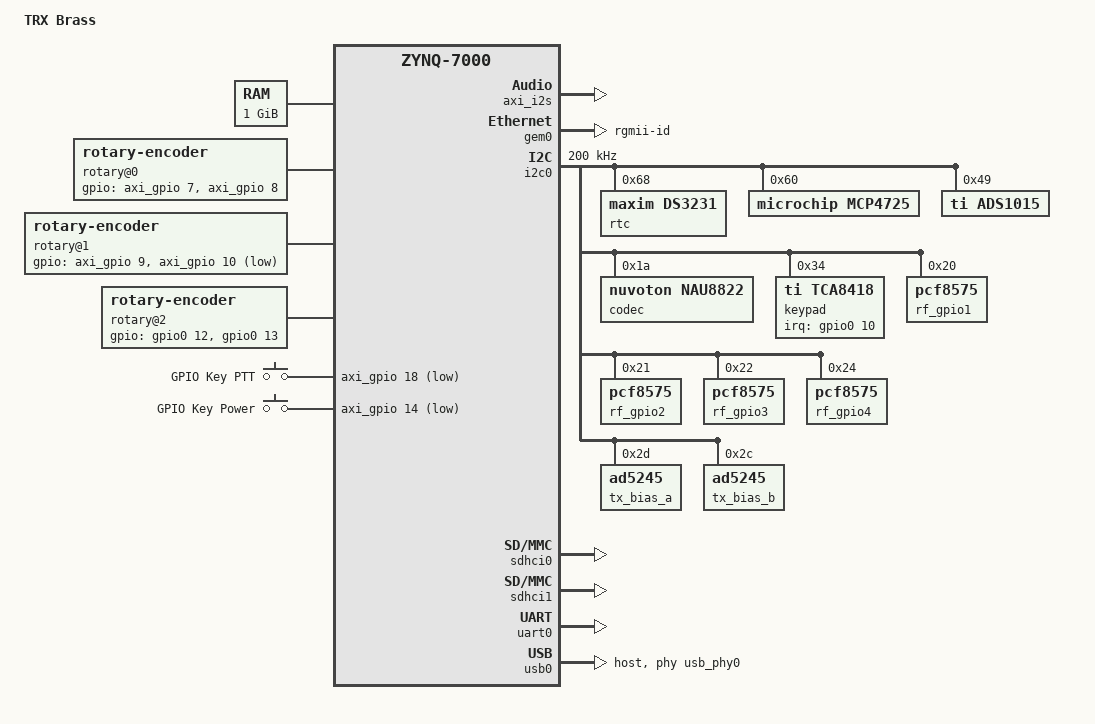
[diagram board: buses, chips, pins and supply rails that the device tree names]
/dts-v1/;

#include <dt-bindings/input/input.h>
#include <dt-bindings/interrupt-controller/irq.h>
#include <dt-bindings/dma/axi-dmac.h>

#include "zynq-7000.dtsi"

/ {
	model = "TRX Brass";
	compatible = "xlnx,zynq-7000";

	chosen {
		bootargs = "earlycon";
		stdout-path = "serial0:115200n8";
	};

	aliases {
		ethernet0 = &gem0;
		serial0 = &uart0;
		i2c0 = &i2c0;
		spi0 = &qspi;
		mmc0 = &sdhci0;
		mmc1 = &sdhci1;
	};

	memory {
		device_type = "memory";
		reg = <0x0 0x40000000>;
	};

	amba_pl: amba_pl {
		#address-cells = <1>;
		#size-cells = <1>;
		compatible = "simple-bus";
		ranges ;

		framebuffer {
			compatible = "r1cbu,vdmafb";
			reg = <0x43000000 0x10000>;
			width = <800>;
			height = <480>;
		};

		axi_clk: axi_clk {
			#clock-cells = <0>;
			compatible = "fixed-clock";
			clock-frequency = <122880000>;
			clock-output-names = "axi_clk";
		};

		i2s_clk: i2s_clk {
			#clock-cells = <0>;
			compatible = "fixed-clock";
			clock-frequency = <12288000>;
			clock-output-names = "i2s_clk";
		};
    
		axi_gpio: gpio@41200000 {
			#gpio-cells = <2>;
			#interrupt-cells = <2>;
			clock-names = "axi_clk";
			clocks = <&axi_clk>;
			compatible = "xlnx,axi-gpio-2.0", "xlnx,xps-gpio-1.00.a";
			gpio-controller ;
			interrupt-controller ;
			interrupt-names = "ip2intc_irpt";
			interrupt-parent = <&intc>;
			interrupts = <0 29 4>;
			reg = <0x41200000 0x10000>;
			xlnx,all-inputs = <0x0>;
			xlnx,all-inputs-2 = <0x0>;
			xlnx,all-outputs = <0x0>;
			xlnx,all-outputs-2 = <0x0>;
			xlnx,dout-default = <0x00000000>;
			xlnx,dout-default-2 = <0x00000000>;
			xlnx,gpio-width = <22>;
			xlnx,gpio2-width = <32>;
			xlnx,interrupt-present = <0x1>;
			xlnx,is-dual = <0x0>;
			xlnx,tri-default = <0xFFFFFFFF>;
			xlnx,tri-default-2 = <0xFFFFFFFF>;
		};

		axi_i2s: i2s@43c00000 {
			reg = <0x43C00000 0x10000>;
			#sound-dai-cells = <0>;
			compatible = "adi,axi-i2s-1.00.a";
			clocks = <&i2s_clk>, <&axi_clk>;
			clock-names = "ref", "axi";
			dmas = <&dmac_s 0>, <&dmac_s 1>;
			dma-names = "rx", "tx";
		};

		dma_fft: dma@40400000 {
			#dma-cells = <1>;
			clock-names = "s_axi_lite_aclk", "m_axi_sg_aclk", "m_axi_s2mm_aclk";
			clocks = <&axi_clk>, <&axi_clk>, <&axi_clk>;
			compatible = "xlnx,axi-dma-7.1", "xlnx,axi-dma-1.00.a";
			interrupt-names = "s2mm_introut";
			interrupt-parent = <&intc>;
			interrupts = <0 31 4>;
			reg = <0x40400000 0x10000>;
			xlnx,addrwidth = <64>;
			xlnx,include-sg ;
			xlnx,sg-length-width = <16>;

			dma-channel@40400030 {
				compatible = "xlnx,axi-dma-s2mm-channel";
				dma-channels = <0x1>;
				interrupts = <0 31 4>;
				xlnx,datawidth = <64>;
				xlnx,device-id = <1>;
			};
		};

		dma_trx: dma@40410000 {
			#dma-cells = <1>;
			clock-names = "s_axi_lite_aclk", "m_axi_sg_aclk", "m_axi_s2mm_aclk";
			clocks = <&axi_clk>, <&axi_clk>, <&axi_clk>;
			compatible = "xlnx,axi-dma-7.1", "xlnx,axi-dma-1.00.a";
			interrupt-names = "mm2s_introut", "s2mm_introut";
			interrupt-parent = <&intc>;
			interrupts = <0 33 4 0 32 4>;
			reg = <0x40410000 0x10000>;
			xlnx,addrwidth = <64>;
			xlnx,include-sg ;
			xlnx,sg-length-width = <14>;

			dma-channel@40410000 {
				compatible = "xlnx,axi-dma-mm2s-channel";
				dma-channels = <0x1>;
				interrupts = <0 33 4>;
				xlnx,datawidth = <64>;
				xlnx,device-id = <1>;
			};

			dma-channel@40410030 {
				compatible = "xlnx,axi-dma-s2mm-channel";
				dma-channels = <0x1>;
				interrupts = <0 32 4>;
				xlnx,datawidth = <64>;
				xlnx,device-id = <1>;
			};
		};
	};

	dma_proxy {
		compatible ="xlnx,dma_proxy";
		dmas = <&dma_fft 1 &dma_trx 1 &dma_trx 0>;
		dma-names = "fft", "adc", "dac";
	};

	rx_control {
		compatible = "generic-uio";
		reg = <0x43C10000 0x1000>;
	};

	tx_control {
		compatible = "generic-uio";
		reg = <0x43C20000 0x1000>;
	};

	sound {
		compatible = "simple-audio-card";
		simple-audio-card,name = "Brass-Sound-Card";
		simple-audio-card,format = "i2s";

		simple-audio-card,routing =
			"Headphones", "LHP",
			"Headphones", "RHP",
			"Speaker", "LSPK",
			"Speaker", "RSPK",
			"Line Out", "AUXOUT1",
			"Line Out", "AUXOUT2",
			"LAUX", "Line In",
			"RAUX", "Line In",
			"LMICP", "Mic In",
			"RMICP", "Mic In";

		simple-audio-card,widgets =
			"Headphones", "Headphones",
			"Line Out", "Line Out",
			"Speaker", "Speaker",
			"Microphone", "Mic In",
			"Line", "Line In";

		simple-audio-card,cpu {
			sound-dai = <&axi_i2s>;
		};

		simple-audio-card,codec {
			sound-dai = <&codec>;
		};
	};

	usb_phy0: phy0@e0002000 {
		compatible = "ulpi-phy";
		#phy-cells = <0>;
		reg = <0xe0002000 0x1000>;
		view-port = <0x0170>;
		drv-vbus;
	};

	cpus {
		cpu@0 {
			operating-points = <766666 1000000 383333 1000000>;
		};
	};

	rotary@0 {
		compatible = "rotary-encoder";
		gpios = <&axi_gpio 7 0>, <&axi_gpio 8 0>;
		linux,axis = <0>;
		rotary-encoder,encoding = "gray";
		rotary-encoder,relative-axis;
	};

	rotary@1 {
		compatible = "rotary-encoder";
		gpios = <&axi_gpio 9 0>, <&axi_gpio 10 1>;
		linux,axis = <0>;
		rotary-encoder,encoding = "gray";
		rotary-encoder,relative-axis;
	};

	rotary@2 {
		compatible = "rotary-encoder";
		gpios = <&gpio0 12 0>, <&gpio0 13 0>;
		linux,axis = <0>;
		rotary-encoder,encoding = "gray";
		rotary-encoder,relative-axis;
	};

	gpio-keys {
		compatible = "gpio-keys";

		key-ptt {
			label = "GPIO Key PTT";
			linux,code = <KEY_CONNECT>;
			gpios = <&axi_gpio 18 1>;
		};

		key-power {
			label = "GPIO Key Power";
			linux,code = <KEY_POWER>;
			gpios = <&axi_gpio 14 1>;
		};
	};

	control_regs: axi@43c30000 {
		compatible = "syscon";
		reg = <0x43c30000 0x1000>;
	};

	poweroff {
		compatible = "syscon-poweroff";
		regmap = <&control_regs>;
		offset = <0x00>;
		mask = <0x1>;
	};

};

&gem0 {
	enet-reset = <&gpio0 7 0>;
	phy-mode = "rgmii-id";
	status = "okay";
	xlnx,ptp-enet-clock = <0x79dbbf3>;
	local-mac-address = [46 28 FA DA 2F 4B];
};

&gpio0 {
	emio-gpio-width = <64>;
	gpio-mask-high = <0x0>;
	gpio-mask-low = <0x5600>;
};

&i2c0 {
	clock-frequency = <200000>;
	status = "okay";

	rtc@68 {
	    compatible = "maxim,ds3231";
	    reg = <0x68>;
	};

	mcp4725@60 {
		compatible = "microchip,mcp4725";
		reg = <0x60>;
	};

	ads1015@49 {
		compatible = "ti,ads1015";
		reg = <0x49>;
		#address-cells = <1>;
		#size-cells = <0>;

		channel@0 {
			reg = <4>;
			ti,datarate = <0>;
		};

		channel@1 {
			reg = <5>;
			ti,datarate = <0>;
		};

		channel@2 {
			reg = <6>;
			ti,datarate = <0>;
		};

		channel@3 {
			reg = <7>;
			ti,datarate = <0>;
		};
	};

	codec: nau8822@1a {
		compatible = "nuvoton,nau8822";
		#sound-dai-cells = <0>;
		reg = <0x1a>;
	};

	keypad@34 {
		compatible = "ti,tca8418";
		reg = <0x34>;
		interrupt-parent = <&gpio0>;
		interrupts = <10 IRQ_TYPE_EDGE_FALLING>;
		linux,keymap = < 
			MATRIX_KEY(0x03, 0x02, BTN_NORTH)

			MATRIX_KEY(0x03, 0x03, KEY_1)
			MATRIX_KEY(0x03, 0x01, KEY_2)
			MATRIX_KEY(0x03, 0x00, KEY_3)

			MATRIX_KEY(0x00, 0x03, BTN_SOUTH)

			MATRIX_KEY(0x00, 0x01, KEY_F1)
			MATRIX_KEY(0x00, 0x02, KEY_F2)
			MATRIX_KEY(0x02, 0x00, KEY_F3)
			MATRIX_KEY(0x02, 0x01, KEY_F4)
			MATRIX_KEY(0x02, 0x02, KEY_F5)
			MATRIX_KEY(0x02, 0x03, KEY_F6)

			MATRIX_KEY(0x01, 0x00, KEY_A)
			MATRIX_KEY(0x01, 0x01, KEY_B)
			MATRIX_KEY(0x01, 0x02, KEY_C)
			MATRIX_KEY(0x01, 0x03, KEY_D)
		>;
		keypad,num-rows = <4>;
		keypad,num-columns = <4>;
	};

    /* U1 */

	rf_gpio1: gpio@20 {
		compatible = "pcf8575";
		reg = <0x20>;
		gpio-controller;
		#gpio-cells = <2>;
		gpio-line-names = 
			"BPF_LF", "BPF_40", "BPF_160", "BPF_80", "BPF_30_20", "BPF_17_15", "BPF_12_20", "BPF_6",
			"BPF_0_60", "ATT_16", "ATT_0.5", "ATT_1", "ATT_2", "ATT_4", "ATT_8", "HF_LNA";
	};

    /* U2 */

	rf_gpio2: gpio@21 {
		compatible = "pcf8575";
		reg = <0x21>;
		gpio-controller;
		#gpio-cells = <2>;
		gpio-line-names = 
			"ADF_CLK", "ADF_DATA", "ADF_LE", "VHF/UHF_RX_TX", "XVRT_HF_VHF/UHF", "", "RELAY_LPF_VHF/UHF", "RELAY_VHF/UHF_RX_TX",
			"", "", "RELAY_HF_RX_TX", "RELAY_SWAP_C", "SEL_VHF/UHF", "", "", "";
	};

    /* U3 */

	rf_gpio3: gpio@22 {
		compatible = "pcf8575";
		reg = <0x22>;
		gpio-controller;
		#gpio-cells = <2>;
		gpio-line-names = 
			"", "LPF_160", "LPF_80", "LPF_40", "LPF_20", "LPF_15", "LPF_10", "LPF_6",
			"L_07", "L_06", "L_05", "L_04", "L_03", "L_02", "L_01", "";
	};

    /* U28 */

	rf_gpio4: gpio@24 {
		compatible = "pcf8575";
		reg = <0x24>;
		gpio-controller;
		#gpio-cells = <2>;
		gpio-line-names = 
			"C_01", "C_06", "C_05", "C_04", "BAND_3", "BAND_1", "BAND_0", "BAND_2",
			"RELAY_HF_VHF/UHF", "C_02", "C_03", "C_07", "", "PTT_EXT", "", "";
	};

	tx_bias_a: bias@2d {
		compatible = "ad5245";
		reg = <0x2d>;
	};

	tx_bias_b: bias@2c {
		compatible = "ad5245";
		reg = <0x2c>;
	};
};

&intc {
	num_cpus = <2>;
	num_interrupts = <96>;
	status = "okay";
};

&qspi {
	is-dual = <0>;
	num-cs = <1>;
	spi-rx-bus-width = <4>;
	spi-tx-bus-width = <4>;
	status = "disabled";
};

&sdhci0 {
	status = "okay";
	xlnx,has-cd = <0x0>;
	xlnx,has-power = <0x0>;
	xlnx,has-wp = <0x0>;
};

&sdhci1 {
	status = "okay";
	xlnx,has-cd = <0x0>;
	xlnx,has-power = <0x0>;
	xlnx,has-wp = <0x0>;
};

&uart0 {
	cts-override ;
	device_type = "serial";
	port-number = <0>;
	status = "okay";
};

&usb0 {
	status = "okay";
	usb-reset = <&gpio0 8 0>;
	dr_mode = "host";
	usb-phy = <&usb_phy0>;
};

&clkc {
	fclk-enable = <0x3>;
	ps-clk-frequency = <33333333>;
};
